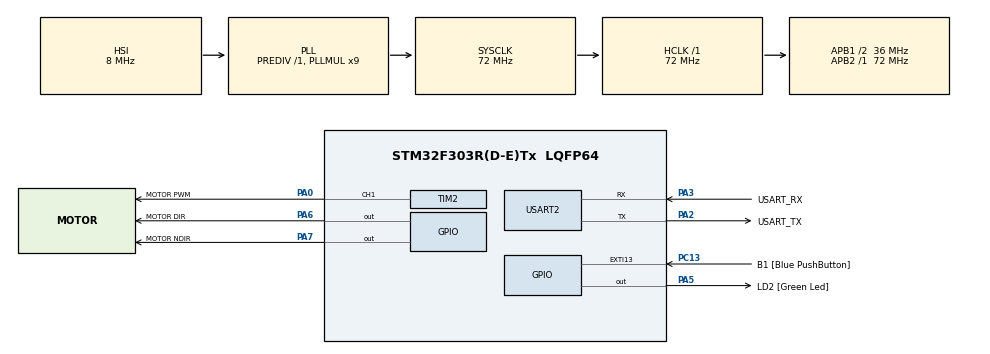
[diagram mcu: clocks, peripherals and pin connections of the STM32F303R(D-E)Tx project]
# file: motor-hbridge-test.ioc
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Mcu.Family=STM32F3
Mcu.Name=STM32F303R(D-E)Tx
Mcu.Package=LQFP64
NVIC.PriorityGroup=NVIC_PRIORITYGROUP_0
PA0.GPIO_Label=MOTOR PWM
PA0.Signal=S_TIM2_CH1_ETR
PA13.GPIO_Label=TMS
PA13.Mode=Serial_Wire
PA13.Signal=SYS_JTMS-SWDIO
PA14.GPIO_Label=TCK
PA14.Mode=Serial_Wire
PA14.Signal=SYS_JTCK-SWCLK
PA2.GPIO_Label=USART_TX
PA2.GPIO_Mode=GPIO_MODE_AF_PP
PA2.GPIO_PuPd=GPIO_NOPULL
PA2.GPIO_Speed=GPIO_SPEED_FREQ_LOW
PA2.Mode=Asynchronous
PA2.Signal=USART2_TX
PA3.GPIO_Label=USART_RX
PA3.GPIO_Mode=GPIO_MODE_AF_PP
PA3.GPIO_PuPd=GPIO_NOPULL
PA3.GPIO_Speed=GPIO_SPEED_FREQ_LOW
PA3.Mode=Asynchronous
PA3.Signal=USART2_RX
PA5.GPIO_Label=LD2 [Green Led]
PA5.GPIO_Mode=GPIO_MODE_OUTPUT_PP
PA5.GPIO_PuPd=GPIO_NOPULL
PA5.GPIO_Speed=GPIO_SPEED_FREQ_LOW
PA5.Signal=GPIO_Output
PA6.GPIO_Label=MOTOR DIR
PA6.Signal=GPIO_Output
PA7.GPIO_Label=MOTOR NDIR
PA7.Signal=GPIO_Output
PB3.GPIO_Label=SWO
PB3.Signal=SYS_JTDO-TRACESWO
PC13.GPIO_Label=B1 [Blue PushButton]
PC13.GPIO_ModeDefaultEXTI=GPIO_MODE_IT_FALLING
PC13.Signal=GPXTI13
PC14-OSC32_IN.Mode=LSE-External-Oscillator
PC14-OSC32_IN.Signal=RCC_OSC32_IN
PC15-OSC32_OUT.Mode=LSE-External-Oscillator
PC15-OSC32_OUT.Signal=RCC_OSC32_OUT
PF0-OSC_IN.Mode=HSE-External-Clock-Source
PF0-OSC_IN.Signal=RCC_OSC_IN
PF1-OSC_OUT.Signal=RCC_OSC_OUT
ProjectManager.HeapSize=0x200
ProjectManager.StackSize=0x400
ProjectManager.TargetToolchain=STM32CubeIDE
RCC.AHBFreq_Value=72000000
RCC.APB1CLKDivider=RCC_HCLK_DIV2
RCC.APB1Freq_Value=36000000
RCC.APB1TimFreq_Value=72000000
RCC.APB2Freq_Value=72000000
RCC.APB2TimFreq_Value=72000000
RCC.CortexFreq_Value=72000000
RCC.HCLKFreq_Value=72000000
RCC.HSE_VALUE=8000000
RCC.HSI_VALUE=8000000
RCC.PLLM=8
RCC.PLLMUL=RCC_PLL_MUL9
RCC.PLLN=336
RCC.PLLP=RCC_PLLP_DIV4
RCC.PLLQ=7
RCC.RCC_PLLsource_Clock_Source_FROM_HSE=RCC_HSE_PREDIV_DIV2
RCC.SYSCLKFreq_VALUE=72000000
RCC.SYSCLKSourceVirtual=RCC_SYSCLKSOURCE_PLLCLK
RCC.USBFreq_Value=72000000
SH.S_TIM2_CH1_ETR.0=TIM2_CH1,PWM Generation1 CH1
TIM2.Channel-PWM\ Generation1\ CH1=TIM_CHANNEL_1
TIM2.Period=30000
TIM2.Prescaler=199
USART2.VirtualMode-Asynchronous=VM_ASYNC
VP_TIM2_VS_ClockSourceINT.Mode=Internal
board=NUCLEO-F303RE

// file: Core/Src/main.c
/* USER CODE BEGIN Header */
/**
  ******************************************************************************
  * @file           : main.c
  * @brief          : Main program body
  ******************************************************************************
  * @attention
  *
  * Copyright (c) 2022 STMicroelectronics.
  * All rights reserved.
  *
  * This software is licensed under terms that can be found in the LICENSE file
  * in the root directory of this software component.
  * If no LICENSE file comes with this software, it is provided AS-IS.
  *
  ******************************************************************************
  */
/* USER CODE END Header */
#include "main.h"

/* USER CODE BEGIN Includes */
#include "hbridge.h"
/* USER CODE END Includes */

TIM_HandleTypeDef htim2;

UART_HandleTypeDef huart2;

void SystemClock_Config(void);
static void MX_GPIO_Init(void);
static void MX_USART2_UART_Init(void);
static void MX_TIM2_Init(void);

int main(void)
{

  /* MCU Configuration--------------------------------------------------------*/

  /* Reset of all peripherals, Initializes the Flash interface and the Systick. */
  HAL_Init();

  /* Configure the system clock */
  SystemClock_Config();

  /* Initialize all configured peripherals */
  MX_GPIO_Init();
  MX_USART2_UART_Init();
  MX_TIM2_Init();
  /* USER CODE BEGIN 2 */
  Pin* pin1 = new_pin(GPIOA, GPIO_PIN_6);
  Pin* pin2 = new_pin(GPIOA, GPIO_PIN_7);
  HBridge *motor_1 = new_hbridge(&htim2, TIM_CHANNEL_1, &(TIM2->CCR1), TIM2->ARR, pin1, pin2);
  intialize_hbridge(motor_1, 0.0, 1);
  /* USER CODE END 2 */

  /* Infinite loop */
  /* USER CODE BEGIN WHILE */
  double dpwm = 0.01;
  double pwm = 0.0;
  int dir = 1;
  while (1)
  {

	pwm = 0.0;

	dir *= -1;
	set_dir(motor_1, dir);

	while(pwm < 1.0)
	{
		set_pwm(motor_1, pwm);
		pwm += dpwm;
		HAL_Delay(50);
	}

    /* USER CODE END WHILE */

  }
}

void SystemClock_Config(void)
{
  RCC_OscInitTypeDef RCC_OscInitStruct = {0};
  RCC_ClkInitTypeDef RCC_ClkInitStruct = {0};
  RCC_PeriphCLKInitTypeDef PeriphClkInit = {0};

  /** Initializes the RCC Oscillators according to the specified parameters
  * in the RCC_OscInitTypeDef structure.
  */
  RCC_OscInitStruct.OscillatorType = RCC_OSCILLATORTYPE_HSI;
  RCC_OscInitStruct.HSIState = RCC_HSI_ON;
  RCC_OscInitStruct.HSICalibrationValue = RCC_HSICALIBRATION_DEFAULT;
  RCC_OscInitStruct.PLL.PLLState = RCC_PLL_ON;
  RCC_OscInitStruct.PLL.PLLSource = RCC_PLLSOURCE_HSI;
  RCC_OscInitStruct.PLL.PLLMUL = RCC_PLL_MUL9;
  RCC_OscInitStruct.PLL.PREDIV = RCC_PREDIV_DIV1;
  if (HAL_RCC_OscConfig(&RCC_OscInitStruct) != HAL_OK)
  {
    Error_Handler();
  }

  /** Initializes the CPU, AHB and APB buses clocks
  */
  RCC_ClkInitStruct.ClockType = RCC_CLOCKTYPE_HCLK|RCC_CLOCKTYPE_SYSCLK
                              |RCC_CLOCKTYPE_PCLK1|RCC_CLOCKTYPE_PCLK2;
  RCC_ClkInitStruct.SYSCLKSource = RCC_SYSCLKSOURCE_PLLCLK;
  RCC_ClkInitStruct.AHBCLKDivider = RCC_SYSCLK_DIV1;
  RCC_ClkInitStruct.APB1CLKDivider = RCC_HCLK_DIV2;
  RCC_ClkInitStruct.APB2CLKDivider = RCC_HCLK_DIV1;

  if (HAL_RCC_ClockConfig(&RCC_ClkInitStruct, FLASH_LATENCY_2) != HAL_OK)
  {
    Error_Handler();
  }
  PeriphClkInit.PeriphClockSelection = RCC_PERIPHCLK_USART2|RCC_PERIPHCLK_TIM2;
  PeriphClkInit.Usart2ClockSelection = RCC_USART2CLKSOURCE_PCLK1;
  PeriphClkInit.Tim2ClockSelection = RCC_TIM2CLK_HCLK;
  if (HAL_RCCEx_PeriphCLKConfig(&PeriphClkInit) != HAL_OK)
  {
    Error_Handler();
  }
}

static void MX_TIM2_Init(void)
{

  TIM_ClockConfigTypeDef sClockSourceConfig = {0};
  TIM_MasterConfigTypeDef sMasterConfig = {0};
  TIM_OC_InitTypeDef sConfigOC = {0};

  htim2.Instance = TIM2;
  htim2.Init.Prescaler = 199;
  htim2.Init.CounterMode = TIM_COUNTERMODE_UP;
  htim2.Init.Period = 30000;
  htim2.Init.ClockDivision = TIM_CLOCKDIVISION_DIV1;
  htim2.Init.AutoReloadPreload = TIM_AUTORELOAD_PRELOAD_DISABLE;
  if (HAL_TIM_Base_Init(&htim2) != HAL_OK)
  {
    Error_Handler();
  }
  sClockSourceConfig.ClockSource = TIM_CLOCKSOURCE_INTERNAL;
  if (HAL_TIM_ConfigClockSource(&htim2, &sClockSourceConfig) != HAL_OK)
  {
    Error_Handler();
  }
  if (HAL_TIM_PWM_Init(&htim2) != HAL_OK)
  {
    Error_Handler();
  }
  sMasterConfig.MasterOutputTrigger = TIM_TRGO_RESET;
  sMasterConfig.MasterSlaveMode = TIM_MASTERSLAVEMODE_DISABLE;
  if (HAL_TIMEx_MasterConfigSynchronization(&htim2, &sMasterConfig) != HAL_OK)
  {
    Error_Handler();
  }
  sConfigOC.OCMode = TIM_OCMODE_PWM1;
  sConfigOC.Pulse = 0;
  sConfigOC.OCPolarity = TIM_OCPOLARITY_HIGH;
  sConfigOC.OCFastMode = TIM_OCFAST_DISABLE;
  if (HAL_TIM_PWM_ConfigChannel(&htim2, &sConfigOC, TIM_CHANNEL_1) != HAL_OK)
  {
    Error_Handler();
  }
  HAL_TIM_MspPostInit(&htim2);

}

static void MX_USART2_UART_Init(void)
{

  huart2.Instance = USART2;
  huart2.Init.BaudRate = 38400;
  huart2.Init.WordLength = UART_WORDLENGTH_8B;
  huart2.Init.StopBits = UART_STOPBITS_1;
  huart2.Init.Parity = UART_PARITY_NONE;
  huart2.Init.Mode = UART_MODE_TX_RX;
  huart2.Init.HwFlowCtl = UART_HWCONTROL_NONE;
  huart2.Init.OverSampling = UART_OVERSAMPLING_16;
  huart2.Init.OneBitSampling = UART_ONE_BIT_SAMPLE_DISABLE;
  huart2.AdvancedInit.AdvFeatureInit = UART_ADVFEATURE_NO_INIT;
  if (HAL_UART_Init(&huart2) != HAL_OK)
  {
    Error_Handler();
  }

}

static void MX_GPIO_Init(void)
{
  GPIO_InitTypeDef GPIO_InitStruct = {0};

  /* GPIO Ports Clock Enable */
  __HAL_RCC_GPIOC_CLK_ENABLE();
  __HAL_RCC_GPIOF_CLK_ENABLE();
  __HAL_RCC_GPIOA_CLK_ENABLE();
  __HAL_RCC_GPIOB_CLK_ENABLE();

  /*Configure GPIO pin Output Level */
  HAL_GPIO_WritePin(GPIOA, LD2_Pin|MOTOR_DIR_Pin|MOTOR_NDIR_Pin, GPIO_PIN_RESET);

  /*Configure GPIO pin : B1_Pin */
  GPIO_InitStruct.Pin = B1_Pin;
  GPIO_InitStruct.Mode = GPIO_MODE_IT_FALLING;
  GPIO_InitStruct.Pull = GPIO_NOPULL;
  HAL_GPIO_Init(B1_GPIO_Port, &GPIO_InitStruct);

  /*Configure GPIO pins : LD2_Pin MOTOR_DIR_Pin MOTOR_NDIR_Pin */
  GPIO_InitStruct.Pin = LD2_Pin|MOTOR_DIR_Pin|MOTOR_NDIR_Pin;
  GPIO_InitStruct.Mode = GPIO_MODE_OUTPUT_PP;
  GPIO_InitStruct.Pull = GPIO_NOPULL;
  GPIO_InitStruct.Speed = GPIO_SPEED_FREQ_LOW;
  HAL_GPIO_Init(GPIOA, &GPIO_InitStruct);

}

void Error_Handler(void)
{
  __disable_irq();
  while (1)
  {
  }
}
